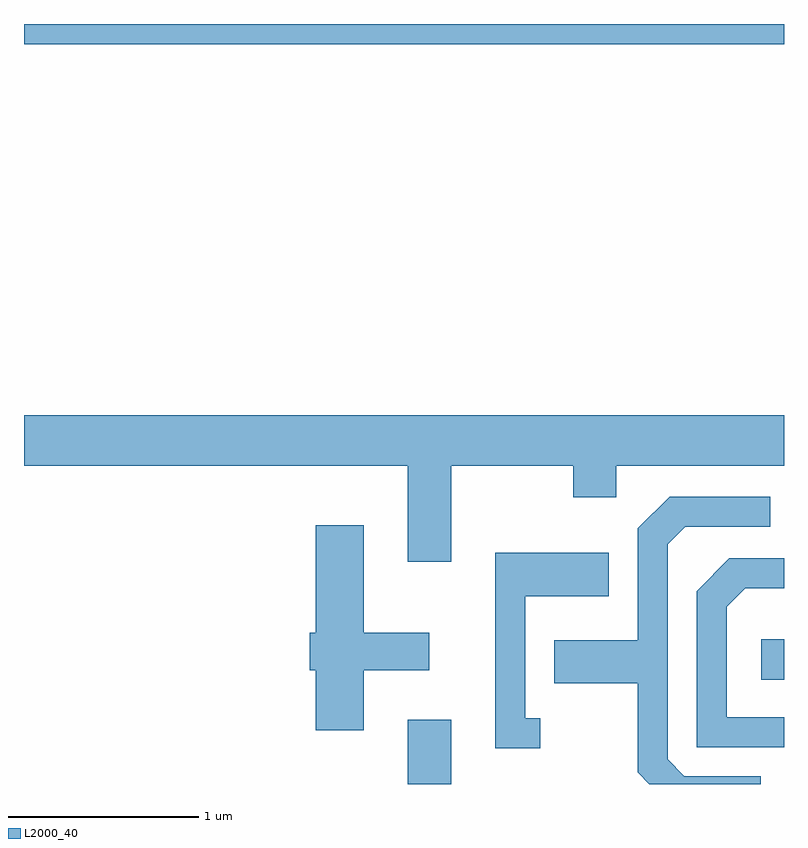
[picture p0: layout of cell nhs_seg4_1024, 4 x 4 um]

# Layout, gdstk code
import gdstk
lib = gdstk.Library(unit=1e-6, precision=1e-09)
def R(c, l, rs):  # rectangles x0, y0, x1, y1
    for r in rs: c.add(gdstk.rectangle(r[:2], r[2:], *l))
def P(c, l, *ps):  # polygons
    for p in ps: c.add(gdstk.Polygon(p, *l))
L2000_40 = (2000, 40)

nhs_seg4_1024 = lib.new_cell('nhs_seg4_1024')
R(nhs_seg4_1024, L2000_40, [(217.631,1261.982,217.859,1262.319), (219.491,1262.531,219.611,1262.744), (215.611,1265.876,219.611,1265.982)])
P(nhs_seg4_1024, L2000_40, [(217.859,1263.656),(218.501,1263.656),(218.501,1263.491),(218.729,1263.491),(218.729,1263.656),(219.611,1263.656),(219.611,1263.924),(215.611,1263.924),(215.611,1263.656),(217.631,1263.656),(217.631,1263.151),(217.859,1263.151)],
  [(219.488,1262.024),(219.087,1262.024),(218.999,1262.112),(218.999,1263.244),(219.092,1263.336),(219.538,1263.336),(219.538,1263.494),(219.009,1263.494),(218.841,1263.327),(218.841,1262.739),(218.401,1262.739),(218.401,1262.511),(218.841,1262.511),(218.841,1262.044),(218.903,1261.982),(219.488,1261.982)],
  [(217.399,1262.581),(217.744,1262.581),(217.744,1262.779),(217.399,1262.779),(217.399,1263.344),(217.146,1263.344),(217.146,1262.779),(217.116,1262.779),(217.116,1262.581),(217.146,1262.581),(217.146,1262.266),(217.399,1262.266)],
  [(218.328,1262.329),(218.249,1262.329),(218.249,1262.971),(218.689,1262.971),(218.689,1263.199),(218.091,1263.199),(218.091,1262.171),(218.328,1262.171)],
  [(219.611,1262.334),(219.309,1262.334),(219.309,1262.914),(219.407,1263.011),(219.611,1263.011),(219.611,1263.169),(219.324,1263.169),(219.151,1262.997),(219.151,1262.176),(219.611,1262.176)])

lib.write_gds('nhs_seg4_1024.gds')
